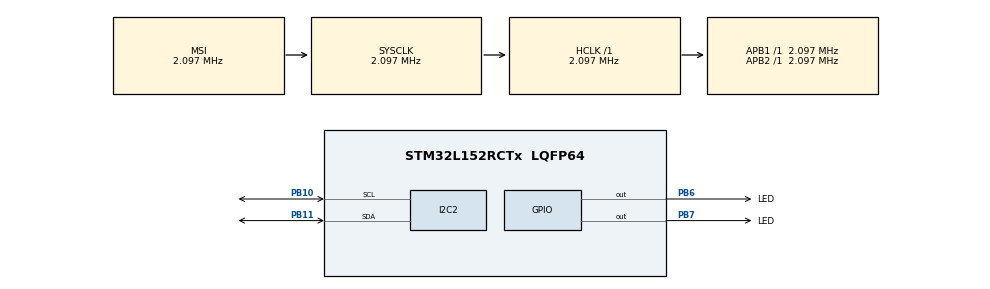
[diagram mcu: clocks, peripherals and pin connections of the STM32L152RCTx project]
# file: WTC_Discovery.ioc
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Mcu.Family=STM32L1
Mcu.Name=STM32L152RCTx
Mcu.Package=LQFP64
NVIC.PriorityGroup=NVIC_PRIORITYGROUP_4
PB10.Mode=I2C
PB10.Signal=I2C2_SCL
PB11.Mode=I2C
PB11.Signal=I2C2_SDA
PB6.GPIO_Label=LED
PB6.Signal=GPIO_Output
PB7.GPIO_Label=LED
PB7.Signal=GPIO_Output
ProjectManager.HeapSize=0x200
ProjectManager.StackSize=0x400
ProjectManager.TargetToolchain=TrueSTUDIO
RCC.AHBFreq_Value=2097000
RCC.APB1Freq_Value=2097000
RCC.APB2Freq_Value=2097000
RCC.HSE_VALUE=24000000
RCC.HSI_VALUE=16000000
RCC.LSE_VALUE=32768
RCC.MSI_VALUE=2097000
RCC.SYSCLKFreq_VALUE=2097000
RCC.VCOOutputFreq_Value=48000000
board=WTC_Discovery

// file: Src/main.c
/**
  ******************************************************************************
  * @file           : main.c
  * @brief          : Main program body
  ******************************************************************************
  ** This notice applies to any and all portions of this file
  * that are not between comment pairs USER CODE BEGIN and
  * USER CODE END. Other portions of this file, whether
  * inserted by the user or by software development tools
  * are owned by their respective copyright owners.
  *
  * COPYRIGHT(c) 2018 STMicroelectronics
  *
  * Redistribution and use in source and binary forms, with or without modification,
  * are permitted provided that the following conditions are met:
  *   1. Redistributions of source code must retain the above copyright notice,
  *      this list of conditions and the following disclaimer.
  *   2. Redistributions in binary form must reproduce the above copyright notice,
  *      this list of conditions and the following disclaimer in the documentation
  *      and/or other materials provided with the distribution.
  *   3. Neither the name of STMicroelectronics nor the names of its contributors
  *      may be used to endorse or promote products derived from this software
  *      without specific prior written permission.
  *
  * THIS SOFTWARE IS PROVIDED BY THE COPYRIGHT HOLDERS AND CONTRIBUTORS "AS IS"
  * AND ANY EXPRESS OR IMPLIED WARRANTIES, INCLUDING, BUT NOT LIMITED TO, THE
  * IMPLIED WARRANTIES OF MERCHANTABILITY AND FITNESS FOR A PARTICULAR PURPOSE ARE
  * DISCLAIMED. IN NO EVENT SHALL THE COPYRIGHT HOLDER OR CONTRIBUTORS BE LIABLE
  * FOR ANY DIRECT, INDIRECT, INCIDENTAL, SPECIAL, EXEMPLARY, OR CONSEQUENTIAL
  * DAMAGES (INCLUDING, BUT NOT LIMITED TO, PROCUREMENT OF SUBSTITUTE GOODS OR
  * SERVICES; LOSS OF USE, DATA, OR PROFITS; OR BUSINESS INTERRUPTION) HOWEVER
  * CAUSED AND ON ANY THEORY OF LIABILITY, WHETHER IN CONTRACT, STRICT LIABILITY,
  * OR TORT (INCLUDING NEGLIGENCE OR OTHERWISE) ARISING IN ANY WAY OUT OF THE USE
  * OF THIS SOFTWARE, EVEN IF ADVISED OF THE POSSIBILITY OF SUCH DAMAGE.
  *
  ******************************************************************************
  */
#include "main.h"
#include "stm32l1xx_hal.h"

/* USER CODE BEGIN Includes */
#include "LTC2991/LTC2991.h"
/* USER CODE END Includes */

I2C_HandleTypeDef hi2c2;

/* USER CODE BEGIN PV */
/* Private variables ---------------------------------------------------------*/
I2C_HandleTypeDef hi2c2;
/* USER CODE END PV */

void SystemClock_Config(void);
static void MX_GPIO_Init(void);
static void MX_I2C2_Init(void);

/* USER CODE BEGIN PFP */
/* Private function prototypes -----------------------------------------------*/

/* USER CODE END PFP */

int main(void)
{
  /* USER CODE BEGIN 1 */
//testestsetesetst
  /* USER CODE END 1 */

  /* MCU Configuration----------------------------------------------------------*/

  /* Reset of all peripherals, Initializes the Flash interface and the Systick. */
  HAL_Init();

  /* Configure the system clock */
  SystemClock_Config();

  /* Initialize all configured peripherals */
  MX_GPIO_Init();
  MX_I2C2_Init();
  /* USER CODE BEGIN 2 */
  uint8_t pData01, pData00, pData07, pData08;
  uint8_t Tint[2], Vcc[2] , V6[2];
  float Tint1, Vcc1, V61;
  //uint8_t I2CError;
  /* USER CODE END 2 */

  /* Infinite loop */
  /* USER CODE BEGIN WHILE */

  //HAL_Delay(100);
  //SetupLTC(&pData01);
  //SetupLTC(&pData01);
  //SetupLTC(&pData01);
  /*HAL_Delay(100);
  HAL_I2C_Mem_Read(&hi2c2, 0x90, 0x01, I2C_MEMADD_SIZE_8BIT, &pData01, 1, 1000); //status of channels
  HAL_Delay(100);
  HAL_I2C_Mem_Write(&hi2c2, 0x90, 0xF0, I2C_MEMADD_SIZE_8BIT, &pData01, 1, 1000); //enable all channels
  HAL_Delay(100);
*/
  HAL_Delay(100);
  //ReadLTC(&hi2c2, &pData01);

  HAL_Delay(100);
  SetupLTC(&hi2c2, &pData01);

  while (1)
  {

  /* USER CODE END WHILE */

  /* USER CODE BEGIN 3 */
	  HAL_Delay(100);
	  HAL_GPIO_TogglePin(GPIOB, GPIO_PIN_6);
	  HAL_Delay(100);
	  HAL_GPIO_TogglePin(GPIOB, GPIO_PIN_7);

	  HAL_Delay(100);
	 // ReadLTC(&hi2c2, &pData01);

	  if((pData01 >> 1)&1)
	  {
		  HAL_I2C_Mem_Read(&hi2c2, 0x90, 0x1A, I2C_MEMADD_SIZE_8BIT, Tint, 2, 1000); //Reading Internal Temperature
		  //Tint[0] ^= Tint[0]<<8;
		  Tint1 = (((Tint[0]-128)<<8)+Tint[1])*0.0625;
	  }

	  if(pData01&1)
	  {
		  HAL_I2C_Mem_Read(&hi2c2, 0x90, 0x1C, I2C_MEMADD_SIZE_8BIT, Vcc, 2, 1000); //Reading Internal VCC
		  //Vcc[0] ^= Vcc[0]<<8;
		  Vcc1 = (((Vcc[0]-128)<<8)+Vcc[1])*0.00030518+2.5;
	  }

	  HAL_Delay(100);
	  HAL_I2C_Mem_Read(&hi2c2, 0x90, 0x00, I2C_MEMADD_SIZE_8BIT, &pData00, 2, 1000);

	  if((pData00 >> 6)&1)
	  {
		  HAL_I2C_Mem_Read(&hi2c2, 0x90, 0x14, I2C_MEMADD_SIZE_8BIT, V6, 2, 1000); //Reading Internal VCC
		  //Vcc[0] ^= Vcc[0]<<8;
		  V61 = (((V6[0]-128)<<8)+V6[1])*0.00030518+2.5;
	  }
	  printf("%x\n",pData01);

	  //HAL_I2C_Mem_Read(&hi2c2, 0x90, 0x01, I2C_MEMADD_SIZE_8BIT, &pData01, 1, 1000);
  }
  /* USER CODE END 3 */

}

void SystemClock_Config(void)
{

  RCC_OscInitTypeDef RCC_OscInitStruct;
  RCC_ClkInitTypeDef RCC_ClkInitStruct;

    /**Configure the main internal regulator output voltage
    */
  __HAL_PWR_VOLTAGESCALING_CONFIG(PWR_REGULATOR_VOLTAGE_SCALE1);

    /**Initializes the CPU, AHB and APB busses clocks
    */
  RCC_OscInitStruct.OscillatorType = RCC_OSCILLATORTYPE_MSI;
  RCC_OscInitStruct.MSIState = RCC_MSI_ON;
  RCC_OscInitStruct.MSICalibrationValue = 0;
  RCC_OscInitStruct.MSIClockRange = RCC_MSIRANGE_5;
  RCC_OscInitStruct.PLL.PLLState = RCC_PLL_NONE;
  if (HAL_RCC_OscConfig(&RCC_OscInitStruct) != HAL_OK)
  {
    _Error_Handler(__FILE__, __LINE__);
  }

    /**Initializes the CPU, AHB and APB busses clocks
    */
  RCC_ClkInitStruct.ClockType = RCC_CLOCKTYPE_HCLK|RCC_CLOCKTYPE_SYSCLK
                              |RCC_CLOCKTYPE_PCLK1|RCC_CLOCKTYPE_PCLK2;
  RCC_ClkInitStruct.SYSCLKSource = RCC_SYSCLKSOURCE_MSI;
  RCC_ClkInitStruct.AHBCLKDivider = RCC_SYSCLK_DIV1;
  RCC_ClkInitStruct.APB1CLKDivider = RCC_HCLK_DIV1;
  RCC_ClkInitStruct.APB2CLKDivider = RCC_HCLK_DIV1;

  if (HAL_RCC_ClockConfig(&RCC_ClkInitStruct, FLASH_LATENCY_0) != HAL_OK)
  {
    _Error_Handler(__FILE__, __LINE__);
  }

    /**Configure the Systick interrupt time
    */
  HAL_SYSTICK_Config(HAL_RCC_GetHCLKFreq()/1000);

    /**Configure the Systick
    */
  HAL_SYSTICK_CLKSourceConfig(SYSTICK_CLKSOURCE_HCLK);

  /* SysTick_IRQn interrupt configuration */
  HAL_NVIC_SetPriority(SysTick_IRQn, 0, 0);
}

/* I2C2 init function */
static void MX_I2C2_Init(void)
{

  hi2c2.Instance = I2C2;
  hi2c2.Init.ClockSpeed = 100000;
  hi2c2.Init.DutyCycle = I2C_DUTYCYCLE_2;
  hi2c2.Init.OwnAddress1 = 0;
  hi2c2.Init.AddressingMode = I2C_ADDRESSINGMODE_7BIT;
  hi2c2.Init.DualAddressMode = I2C_DUALADDRESS_DISABLE;
  hi2c2.Init.OwnAddress2 = 0;
  hi2c2.Init.GeneralCallMode = I2C_GENERALCALL_DISABLE;
  hi2c2.Init.NoStretchMode = I2C_NOSTRETCH_DISABLE;
  if (HAL_I2C_Init(&hi2c2) != HAL_OK)
  {
    _Error_Handler(__FILE__, __LINE__);
  }

}

/** Configure pins as
        * Analog
        * Input
        * Output
        * EVENT_OUT
        * EXTI
        * Free pins are configured automatically as Analog (this feature is enabled through
        * the Code Generation settings)
*/
static void MX_GPIO_Init(void)
{

  GPIO_InitTypeDef GPIO_InitStruct;

  /* GPIO Ports Clock Enable */
  __HAL_RCC_GPIOC_CLK_ENABLE();
  __HAL_RCC_GPIOH_CLK_ENABLE();
  __HAL_RCC_GPIOA_CLK_ENABLE();
  __HAL_RCC_GPIOB_CLK_ENABLE();
  __HAL_RCC_GPIOD_CLK_ENABLE();

  /*Configure GPIO pin Output Level */
  HAL_GPIO_WritePin(GPIOB, LED_Pin|LEDB7_Pin, GPIO_PIN_RESET);

  /*Configure GPIO pins : PC13 PC14 PC15 PC0
                           PC1 PC2 PC3 PC4
                           PC5 PC6 PC7 PC8
                           PC9 PC10 PC11 PC12 */
  GPIO_InitStruct.Pin = GPIO_PIN_13|GPIO_PIN_14|GPIO_PIN_15|GPIO_PIN_0
                          |GPIO_PIN_1|GPIO_PIN_2|GPIO_PIN_3|GPIO_PIN_4
                          |GPIO_PIN_5|GPIO_PIN_6|GPIO_PIN_7|GPIO_PIN_8
                          |GPIO_PIN_9|GPIO_PIN_10|GPIO_PIN_11|GPIO_PIN_12;
  GPIO_InitStruct.Mode = GPIO_MODE_ANALOG;
  GPIO_InitStruct.Pull = GPIO_NOPULL;
  HAL_GPIO_Init(GPIOC, &GPIO_InitStruct);

  /*Configure GPIO pins : PH0 PH1 */
  GPIO_InitStruct.Pin = GPIO_PIN_0|GPIO_PIN_1;
  GPIO_InitStruct.Mode = GPIO_MODE_ANALOG;
  GPIO_InitStruct.Pull = GPIO_NOPULL;
  HAL_GPIO_Init(GPIOH, &GPIO_InitStruct);

  /*Configure GPIO pins : PA0 PA1 PA2 PA3
                           PA4 PA5 PA6 PA7
                           PA8 PA9 PA10 PA11
                           PA12 PA13 PA14 PA15 */
  GPIO_InitStruct.Pin = GPIO_PIN_0|GPIO_PIN_1|GPIO_PIN_2|GPIO_PIN_3
                          |GPIO_PIN_4|GPIO_PIN_5|GPIO_PIN_6|GPIO_PIN_7
                          |GPIO_PIN_8|GPIO_PIN_9|GPIO_PIN_10|GPIO_PIN_11
                          |GPIO_PIN_12|GPIO_PIN_13|GPIO_PIN_14|GPIO_PIN_15;
  GPIO_InitStruct.Mode = GPIO_MODE_ANALOG;
  GPIO_InitStruct.Pull = GPIO_NOPULL;
  HAL_GPIO_Init(GPIOA, &GPIO_InitStruct);

  /*Configure GPIO pins : PB0 PB1 PB2 PB12
                           PB13 PB14 PB15 PB3
                           PB4 PB5 PB8 PB9 */
  GPIO_InitStruct.Pin = GPIO_PIN_0|GPIO_PIN_1|GPIO_PIN_2|GPIO_PIN_12
                          |GPIO_PIN_13|GPIO_PIN_14|GPIO_PIN_15|GPIO_PIN_3
                          |GPIO_PIN_4|GPIO_PIN_5|GPIO_PIN_8|GPIO_PIN_9;
  GPIO_InitStruct.Mode = GPIO_MODE_ANALOG;
  GPIO_InitStruct.Pull = GPIO_NOPULL;
  HAL_GPIO_Init(GPIOB, &GPIO_InitStruct);

  /*Configure GPIO pin : PD2 */
  GPIO_InitStruct.Pin = GPIO_PIN_2;
  GPIO_InitStruct.Mode = GPIO_MODE_ANALOG;
  GPIO_InitStruct.Pull = GPIO_NOPULL;
  HAL_GPIO_Init(GPIOD, &GPIO_InitStruct);

  /*Configure GPIO pins : LED_Pin LEDB7_Pin */
  GPIO_InitStruct.Pin = LED_Pin|LEDB7_Pin;
  GPIO_InitStruct.Mode = GPIO_MODE_OUTPUT_PP;
  GPIO_InitStruct.Pull = GPIO_NOPULL;
  GPIO_InitStruct.Speed = GPIO_SPEED_FREQ_LOW;
  HAL_GPIO_Init(GPIOB, &GPIO_InitStruct);

}

void _Error_Handler(char *file, int line)
{
  while(1)
  {
  }
}

/************************ (C) COPYRIGHT STMicroelectronics *****END OF FILE****/
